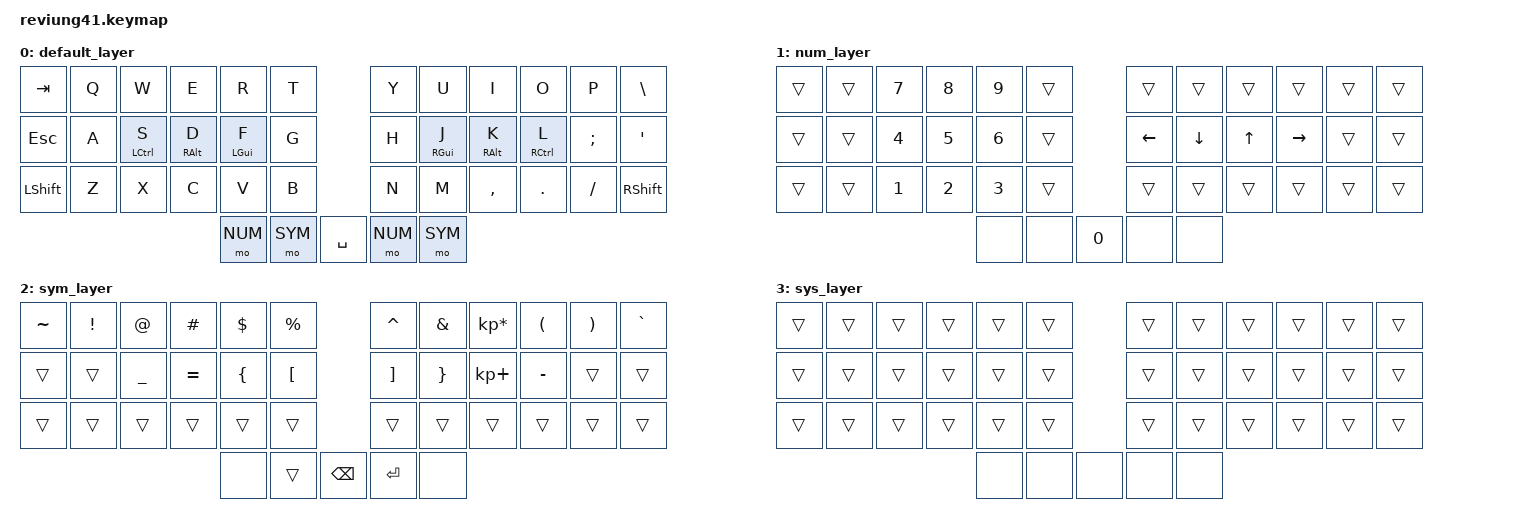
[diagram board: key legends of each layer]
#include <behaviors.dtsi>
#include <dt-bindings/zmk/keys.h>
#include <dt-bindings/zmk/bt.h>
#include <dt-bindings/zmk/ext_power.h>

#define DEFAULT 0
#define NUM 1
#define SYM 2
#define SYS 3

&lt {
  tapping-term-ms = <300>;
  quick_tap_ms = <200>;
  flavor = "hold-preferred";
};

/ {
  chosen {
    zmk,matrix_transform = &default_transform;
  };

  behaviors {
    hm: homerow_mods {
      compatible = "zmk,behavior-hold-tap";
      label = "HOMEROW_MODS";
      #binding-cells = <2>;
      tapping-term-ms = <150>;
      quick_tap_ms = <150>;
      flavor = "tap-preferred";
      bindings = <&kp>, <&kp>;
    };
  };

  keymap {
        compatible = "zmk,keymap";

        default_layer {
            bindings = <
  &kp TAB       &kp Q   &kp W       &kp E       &kp R       &kp T                     &kp Y  &kp U        &kp I       &kp O       &kp P    &kp BSLH
  &kp ESC       &kp A   &hm LCTRL S &hm RALT D  &hm LGUI F  &kp G                     &kp H  &hm RGUI J   &hm RALT  K &hm RCTRL L &kp SEMI &kp SQT
  &kp LSHFT     &kp Z   &kp X       &kp C       &kp V       &kp B                     &kp N  &kp M        &kp COMMA   &kp DOT     &kp FSLH &kp RSHFT
                                                &mo NUM   &mo SYM       &kp SPACE     &mo NUM &mo SYM
            >;
        };
        num_layer {
            bindings = <
	&trans  &trans  &kp N7     &kp N8      &kp N9      &trans                 &trans    &trans    &trans   &trans    &trans  &trans
	&trans  &trans  &kp N4     &kp N5      &kp N6      &trans                 &kp LEFT  &kp DOWN  &kp UP   &kp RIGHT &trans  &trans
	&trans  &trans  &kp N1     &kp N2      &kp N3      &trans                 &trans    &trans    &trans   &trans    &trans  &trans
	                                       &none       &none      &kp N0      &none     &none
            >;
        };
        sym_layer {
            bindings = <
  &kp TILDE  &kp EXCL  &kp AT     &kp HASH  &kp DOLLAR   &kp PRCNT                    &kp CARET &kp AMPS  &kp KP_MULTIPLY &kp LPAR  &kp RPAR  &kp GRAVE  
  &trans     &trans    &kp UNDER  &kp EQUAL &kp LBRC     &kp LBKT                     &kp RBKT  &kp RBRC  &kp KP_PLUS     &kp MINUS &trans    &trans
	&trans     &trans    &trans     &trans    &trans       &trans                       &trans    &trans    &trans          &trans    &trans    &trans
	                                          &none        &trans        &kp BSPC       &kp RET   &none
            >;
        };
        sys_layer {
            bindings = <
	&trans  &trans  &trans     &trans      &trans      &trans                 &trans    &trans    &trans   &trans    &trans  &trans
	&trans  &trans  &trans     &trans      &trans      &trans                 &trans    &trans    &trans   &trans    &trans  &trans
	&trans  &trans  &trans     &trans      &trans      &trans                 &trans    &trans    &trans   &trans    &trans  &trans
	                                       &none       &none       &none      &none     &none
            >;
        };
    };
};
